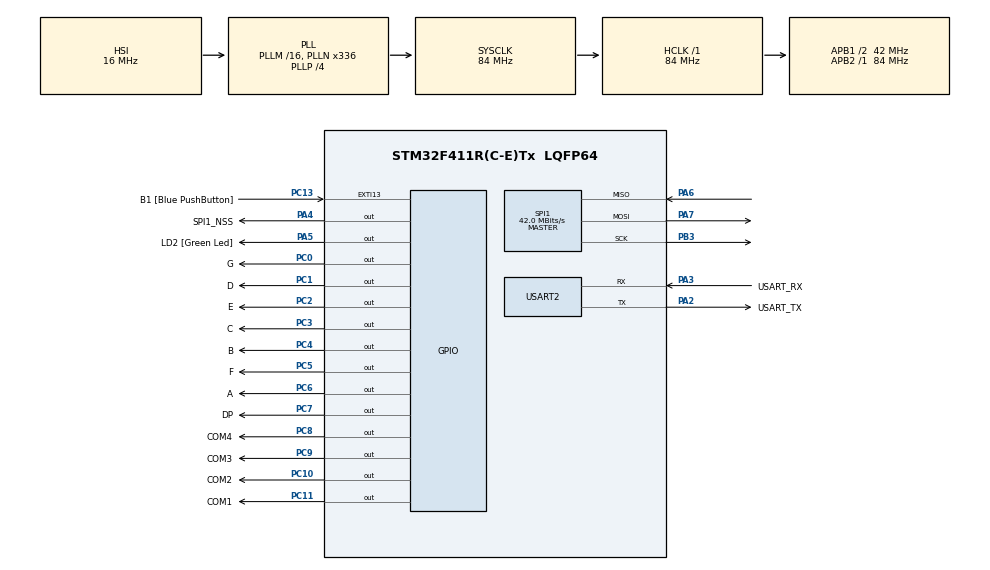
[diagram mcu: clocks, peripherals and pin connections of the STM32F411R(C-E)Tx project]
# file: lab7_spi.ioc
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Mcu.Family=STM32F4
Mcu.Name=STM32F411R(C-E)Tx
Mcu.Package=LQFP64
NVIC.PriorityGroup=NVIC_PRIORITYGROUP_0
NVIC.TIM1_TRG_COM_TIM11_IRQn=true\:0\:0\:false\:false\:true\:true\:true\:true
PA13.GPIO_Label=TMS
PA13.Mode=Serial_Wire
PA13.Signal=SYS_JTMS-SWDIO
PA14.GPIO_Label=TCK
PA14.Mode=Serial_Wire
PA14.Signal=SYS_JTCK-SWCLK
PA2.GPIO_Label=USART_TX
PA2.Mode=Asynchronous
PA2.Signal=USART2_TX
PA3.GPIO_Label=USART_RX
PA3.Mode=Asynchronous
PA3.Signal=USART2_RX
PA4.GPIO_Label=SPI1_NSS
PA4.Signal=GPIO_Output
PA5.GPIO_Label=LD2 [Green Led]
PA5.Signal=GPIO_Output
PA6.Mode=Full_Duplex_Master
PA6.Signal=SPI1_MISO
PA7.Mode=Full_Duplex_Master
PA7.Signal=SPI1_MOSI
PB3.Mode=Full_Duplex_Master
PB3.Signal=SPI1_SCK
PC0.GPIO_Label=G
PC0.Signal=GPIO_Output
PC1.GPIO_Label=D
PC1.Signal=GPIO_Output
PC10.GPIO_Label=COM2
PC10.Signal=GPIO_Output
PC11.GPIO_Label=COM1
PC11.Signal=GPIO_Output
PC13-ANTI_TAMP.GPIO_Label=B1 [Blue PushButton]
PC13-ANTI_TAMP.GPIO_ModeDefaultEXTI=GPIO_MODE_IT_FALLING
PC13-ANTI_TAMP.Signal=GPXTI13
PC14-OSC32_IN.Mode=LSE-External-Oscillator
PC14-OSC32_IN.Signal=RCC_OSC32_IN
PC15-OSC32_OUT.Mode=LSE-External-Oscillator
PC15-OSC32_OUT.Signal=RCC_OSC32_OUT
PC2.GPIO_Label=E
PC2.Signal=GPIO_Output
PC3.GPIO_Label=C
PC3.Signal=GPIO_Output
PC4.GPIO_Label=B
PC4.Signal=GPIO_Output
PC5.GPIO_Label=F
PC5.Signal=GPIO_Output
PC6.GPIO_Label=A
PC6.Signal=GPIO_Output
PC7.GPIO_Label=DP
PC7.Signal=GPIO_Output
PC8.GPIO_Label=COM4
PC8.Signal=GPIO_Output
PC9.GPIO_Label=COM3
PC9.Signal=GPIO_Output
PH0\ -\ OSC_IN.Mode=HSE-External-Clock-Source
PH0\ -\ OSC_IN.Signal=RCC_OSC_IN
PH1\ -\ OSC_OUT.Mode=HSE-External-Clock-Source
PH1\ -\ OSC_OUT.Signal=RCC_OSC_OUT
ProjectManager.HeapSize=0x200
ProjectManager.StackSize=0x400
ProjectManager.TargetToolchain=STM32CubeIDE
RCC.48MHZClocksFreq_Value=84000000
RCC.AHBFreq_Value=84000000
RCC.APB1CLKDivider=RCC_HCLK_DIV2
RCC.APB1Freq_Value=42000000
RCC.APB1TimFreq_Value=84000000
RCC.APB2Freq_Value=84000000
RCC.APB2TimFreq_Value=84000000
RCC.CortexFreq_Value=84000000
RCC.FLatency-AdvancedSettings=FLASH_LATENCY_2
RCC.HCLKFreq_Value=84000000
RCC.HSE_VALUE=8000000
RCC.HSI_VALUE=16000000
RCC.PLLN=336
RCC.PLLP=RCC_PLLP_DIV4
RCC.SYSCLKFreq_VALUE=84000000
RCC.SYSCLKSource=RCC_SYSCLKSOURCE_PLLCLK
RCC.VCOOutputFreq_Value=336000000
SPI1.CLKPhase=SPI_PHASE_2EDGE
SPI1.CLKPolarity=SPI_POLARITY_HIGH
SPI1.CalculateBaudRate=42.0 MBits/s
SPI1.Direction=SPI_DIRECTION_2LINES
SPI1.Mode=SPI_MODE_MASTER
SPI1.VirtualType=VM_MASTER
TIM11.Period=9
TIM11.Prescaler=8399
USART2.VirtualMode=VM_ASYNC
VP_TIM11_VS_ClockSourceINT.Mode=Enable_Timer
board=NUCLEO-F411RE

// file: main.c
/* USER CODE BEGIN Header */
/**
  ******************************************************************************
  * @file           : main.c
  * @brief          : Main program body
  ******************************************************************************
  * @attention
  *
  * Copyright (c) 2023 STMicroelectronics.
  * All rights reserved.
  *
  * This software is licensed under terms that can be found in the LICENSE file
  * in the root directory of this software component.
  * If no LICENSE file comes with this software, it is provided AS-IS.
  *
  ******************************************************************************
  */
/* USER CODE END Header */
#include "main.h"

SPI_HandleTypeDef hspi1;

TIM_HandleTypeDef htim11;

UART_HandleTypeDef huart2;

/* USER CODE BEGIN PV */
volatile uint8_t callback_counter = 0;
volatile uint8_t thousands;
volatile uint8_t hundreds;
volatile uint8_t tens;
volatile uint8_t ones;
volatile uint16_t number = 1234;

uint8_t buf_tx[100];
volatile uint16_t tx_cnt;
/* USER CODE END PV */

void SystemClock_Config(void);
static void MX_GPIO_Init(void);
static void MX_USART2_UART_Init(void);
static void MX_TIM11_Init(void);
static void MX_SPI1_Init(void);
/* USER CODE BEGIN PFP */
void com_change(uint8_t com);
void disp_change(uint8_t num);

void HAL_TIM_PeriodElapsedCallback(TIM_HandleTypeDef *htim) {
	if (htim->Instance == TIM11) {
		// Green LED FLASH
		HAL_GPIO_TogglePin(LD2_GPIO_Port, LD2_Pin);

		// Displaying numbers
		if(callback_counter == 0) {
			// decoding
			ones = number % 10;
			tens = (number / 10) % 10;
			hundreds = (number / 100) % 10;
			thousands = (number / 1000) % 10;

			// turning off all displays
			com_change(0);

			// number set
			disp_change(thousands);

			// turning on display 1
			if (thousands != 0) {
			com_change(1);
			}
			callback_counter++;
		}
		else if (callback_counter == 1) {
			// turning off all displays
			com_change(0);

			// number set
			disp_change(hundreds);

			// turning on display 2
			if (hundreds != 0 || thousands != 0) {
			com_change(2);
			}
			callback_counter++;
		}
		else if (callback_counter == 2) {
			// turning off all displays
			com_change(0);

			// number set
			disp_change(tens);

			// turning on display 3
			if (thousands != 0 || hundreds != 0 || tens != 0) {
			com_change(3);
			}
			callback_counter++;
		}
		else if (callback_counter == 3) {
			// turning off all displays
			com_change(0);

			// number set
			disp_change(ones);

			// turning on display 4
			com_change(4);
			callback_counter = 0;
		}
	}
}

void com_change(uint8_t com) {
	switch(com) {
	case 1:
		HAL_GPIO_WritePin(GPIOC, COM1_Pin, GPIO_PIN_RESET);
		HAL_GPIO_WritePin(GPIOC, COM2_Pin, GPIO_PIN_SET);
		HAL_GPIO_WritePin(GPIOC, COM3_Pin, GPIO_PIN_SET);
		HAL_GPIO_WritePin(GPIOC, COM4_Pin, GPIO_PIN_SET);
		break;
	case 2:
		HAL_GPIO_WritePin(GPIOC, COM1_Pin, GPIO_PIN_SET);
		HAL_GPIO_WritePin(GPIOC, COM2_Pin, GPIO_PIN_RESET);
		HAL_GPIO_WritePin(GPIOC, COM3_Pin, GPIO_PIN_SET);
		HAL_GPIO_WritePin(GPIOC, COM4_Pin, GPIO_PIN_SET);
		break;
	case 3:
		HAL_GPIO_WritePin(GPIOC, COM1_Pin, GPIO_PIN_SET);
		HAL_GPIO_WritePin(GPIOC, COM2_Pin, GPIO_PIN_SET);
		HAL_GPIO_WritePin(GPIOC, COM3_Pin, GPIO_PIN_RESET);
		HAL_GPIO_WritePin(GPIOC, COM4_Pin, GPIO_PIN_SET);
		break;
	case 4:
		HAL_GPIO_WritePin(GPIOC, COM1_Pin, GPIO_PIN_SET);
		HAL_GPIO_WritePin(GPIOC, COM2_Pin, GPIO_PIN_SET);
		HAL_GPIO_WritePin(GPIOC, COM3_Pin, GPIO_PIN_SET);
		HAL_GPIO_WritePin(GPIOC, COM4_Pin, GPIO_PIN_RESET);
		break;
	default:
		HAL_GPIO_WritePin(GPIOC, COM1_Pin, GPIO_PIN_SET);
		HAL_GPIO_WritePin(GPIOC, COM2_Pin, GPIO_PIN_SET);
		HAL_GPIO_WritePin(GPIOC, COM3_Pin, GPIO_PIN_SET);
		HAL_GPIO_WritePin(GPIOC, COM4_Pin, GPIO_PIN_SET);
		break;
	}
}

void disp_change(uint8_t num) {
	switch(num) {
	case 0:
		HAL_GPIO_WritePin(GPIOC, A_Pin, GPIO_PIN_SET);
		HAL_GPIO_WritePin(GPIOC, B_Pin, GPIO_PIN_SET);
		HAL_GPIO_WritePin(GPIOC, C_Pin, GPIO_PIN_SET);
		HAL_GPIO_WritePin(GPIOC, D_Pin, GPIO_PIN_SET);
		HAL_GPIO_WritePin(GPIOC, E_Pin, GPIO_PIN_SET);
		HAL_GPIO_WritePin(GPIOC, F_Pin, GPIO_PIN_SET);
		HAL_GPIO_WritePin(GPIOC, G_Pin, GPIO_PIN_RESET);
		break;
	case 1:
		HAL_GPIO_WritePin(GPIOC, A_Pin, GPIO_PIN_RESET);
		HAL_GPIO_WritePin(GPIOC, B_Pin, GPIO_PIN_SET);
		HAL_GPIO_WritePin(GPIOC, C_Pin, GPIO_PIN_SET);
		HAL_GPIO_WritePin(GPIOC, D_Pin, GPIO_PIN_RESET);
		HAL_GPIO_WritePin(GPIOC, E_Pin, GPIO_PIN_RESET);
		HAL_GPIO_WritePin(GPIOC, F_Pin, GPIO_PIN_RESET);
		HAL_GPIO_WritePin(GPIOC, G_Pin, GPIO_PIN_RESET);
		break;
	case 2:
		HAL_GPIO_WritePin(GPIOC, A_Pin, GPIO_PIN_SET);
		HAL_GPIO_WritePin(GPIOC, B_Pin, GPIO_PIN_SET);
		HAL_GPIO_WritePin(GPIOC, C_Pin, GPIO_PIN_RESET);
		HAL_GPIO_WritePin(GPIOC, D_Pin, GPIO_PIN_SET);
		HAL_GPIO_WritePin(GPIOC, E_Pin, GPIO_PIN_SET);
		HAL_GPIO_WritePin(GPIOC, F_Pin, GPIO_PIN_RESET);
		HAL_GPIO_WritePin(GPIOC, G_Pin, GPIO_PIN_SET);
		break;
	case 3:
		HAL_GPIO_WritePin(GPIOC, A_Pin, GPIO_PIN_SET);
		HAL_GPIO_WritePin(GPIOC, B_Pin, GPIO_PIN_SET);
		HAL_GPIO_WritePin(GPIOC, C_Pin, GPIO_PIN_SET);
		HAL_GPIO_WritePin(GPIOC, D_Pin, GPIO_PIN_SET);
		HAL_GPIO_WritePin(GPIOC, E_Pin, GPIO_PIN_RESET);
		HAL_GPIO_WritePin(GPIOC, F_Pin, GPIO_PIN_RESET);
		HAL_GPIO_WritePin(GPIOC, G_Pin, GPIO_PIN_SET);
		break;
	case 4:
		HAL_GPIO_WritePin(GPIOC, A_Pin, GPIO_PIN_RESET);
		HAL_GPIO_WritePin(GPIOC, B_Pin, GPIO_PIN_SET);
		HAL_GPIO_WritePin(GPIOC, C_Pin, GPIO_PIN_SET);
		HAL_GPIO_WritePin(GPIOC, D_Pin, GPIO_PIN_RESET);
		HAL_GPIO_WritePin(GPIOC, E_Pin, GPIO_PIN_RESET);
		HAL_GPIO_WritePin(GPIOC, F_Pin, GPIO_PIN_SET);
		HAL_GPIO_WritePin(GPIOC, G_Pin, GPIO_PIN_SET);
		break;
	case 5:
		HAL_GPIO_WritePin(GPIOC, A_Pin, GPIO_PIN_SET);
		HAL_GPIO_WritePin(GPIOC, B_Pin, GPIO_PIN_RESET);
		HAL_GPIO_WritePin(GPIOC, C_Pin, GPIO_PIN_SET);
		HAL_GPIO_WritePin(GPIOC, D_Pin, GPIO_PIN_SET);
		HAL_GPIO_WritePin(GPIOC, E_Pin, GPIO_PIN_RESET);
		HAL_GPIO_WritePin(GPIOC, F_Pin, GPIO_PIN_SET);
		HAL_GPIO_WritePin(GPIOC, G_Pin, GPIO_PIN_SET);
		break;
	case 6:
		HAL_GPIO_WritePin(GPIOC, A_Pin, GPIO_PIN_SET);
		HAL_GPIO_WritePin(GPIOC, B_Pin, GPIO_PIN_RESET);
		HAL_GPIO_WritePin(GPIOC, C_Pin, GPIO_PIN_SET);
		HAL_GPIO_WritePin(GPIOC, D_Pin, GPIO_PIN_SET);
		HAL_GPIO_WritePin(GPIOC, E_Pin, GPIO_PIN_SET);
		HAL_GPIO_WritePin(GPIOC, F_Pin, GPIO_PIN_SET);
		HAL_GPIO_WritePin(GPIOC, G_Pin, GPIO_PIN_SET);
		break;
	case 7:
		HAL_GPIO_WritePin(GPIOC, A_Pin, GPIO_PIN_SET);
		HAL_GPIO_WritePin(GPIOC, B_Pin, GPIO_PIN_SET);
		HAL_GPIO_WritePin(GPIOC, C_Pin, GPIO_PIN_SET);
		HAL_GPIO_WritePin(GPIOC, D_Pin, GPIO_PIN_RESET);
		HAL_GPIO_WritePin(GPIOC, E_Pin, GPIO_PIN_RESET);
		HAL_GPIO_WritePin(GPIOC, F_Pin, GPIO_PIN_RESET);
		HAL_GPIO_WritePin(GPIOC, G_Pin, GPIO_PIN_RESET);
		break;
	case 8:
		HAL_GPIO_WritePin(GPIOC, A_Pin, GPIO_PIN_SET);
		HAL_GPIO_WritePin(GPIOC, B_Pin, GPIO_PIN_SET);
		HAL_GPIO_WritePin(GPIOC, C_Pin, GPIO_PIN_SET);
		HAL_GPIO_WritePin(GPIOC, D_Pin, GPIO_PIN_SET);
		HAL_GPIO_WritePin(GPIOC, E_Pin, GPIO_PIN_SET);
		HAL_GPIO_WritePin(GPIOC, F_Pin, GPIO_PIN_SET);
		HAL_GPIO_WritePin(GPIOC, G_Pin, GPIO_PIN_SET);
		break;
	case 9:
		HAL_GPIO_WritePin(GPIOC, A_Pin, GPIO_PIN_SET);
		HAL_GPIO_WritePin(GPIOC, B_Pin, GPIO_PIN_SET);
		HAL_GPIO_WritePin(GPIOC, C_Pin, GPIO_PIN_SET);
		HAL_GPIO_WritePin(GPIOC, D_Pin, GPIO_PIN_SET);
		HAL_GPIO_WritePin(GPIOC, E_Pin, GPIO_PIN_RESET);
		HAL_GPIO_WritePin(GPIOC, F_Pin, GPIO_PIN_SET);
		HAL_GPIO_WritePin(GPIOC, G_Pin, GPIO_PIN_SET);
		break;
	default:
		HAL_GPIO_WritePin(GPIOC, A_Pin, GPIO_PIN_RESET);
		HAL_GPIO_WritePin(GPIOC, B_Pin, GPIO_PIN_RESET);
		HAL_GPIO_WritePin(GPIOC, C_Pin, GPIO_PIN_RESET);
		HAL_GPIO_WritePin(GPIOC, D_Pin, GPIO_PIN_RESET);
		HAL_GPIO_WritePin(GPIOC, E_Pin, GPIO_PIN_RESET);
		HAL_GPIO_WritePin(GPIOC, F_Pin, GPIO_PIN_RESET);
		HAL_GPIO_WritePin(GPIOC, G_Pin, GPIO_PIN_RESET);
		break;
	}
}
/* USER CODE END PFP */

int main(void)
{

  /* MCU Configuration--------------------------------------------------------*/

  /* Reset of all peripherals, Initializes the Flash interface and the Systick. */
  HAL_Init();

  /* Configure the system clock */
  SystemClock_Config();

  /* Initialize all configured peripherals */
  MX_GPIO_Init();
  MX_USART2_UART_Init();
  MX_TIM11_Init();
  MX_SPI1_Init();
  /* USER CODE BEGIN 2 */
  // timer with interruption
  HAL_TIM_Base_Start_IT(&htim11);

  // config mems via spi
  uint8_t MEMSTxBuf[2];
  uint8_t MEMSRxBuf[2];
  MEMSTxBuf[0] = 0x00 | 0x20;
  MEMSTxBuf[1] = 0x47;

  HAL_GPIO_WritePin(SPI1_NSS_GPIO_Port, SPI1_NSS_Pin, GPIO_PIN_RESET);
  HAL_SPI_Transmit(&hspi1, MEMSTxBuf, 2, 10);
  HAL_GPIO_WritePin(SPI1_NSS_GPIO_Port, SPI1_NSS_Pin, GPIO_PIN_SET);

  /* USER CODE END 2 */

  /* Infinite loop */
  /* USER CODE BEGIN WHILE */
  while (1)
  {
	  HAL_Delay(250);
	  uint8_t MEMS[3];

	  // x axis
	  MEMSRxBuf[0] = 0x80 | 0x29;
	  MEMSRxBuf[1] = 0x29;

	  HAL_GPIO_WritePin(SPI1_NSS_GPIO_Port, SPI1_NSS_Pin, GPIO_PIN_RESET);
	  HAL_SPI_Receive(&hspi1, MEMSRxBuf, 2, 10);
	  HAL_GPIO_WritePin(SPI1_NSS_GPIO_Port, SPI1_NSS_Pin, GPIO_PIN_SET);
	  MEMS[0] = MEMSRxBuf[1];

	  // y axis
	  MEMSRxBuf[0] = 0x80 | 0x2B;
	  MEMSRxBuf[1] = 0x29;

	  HAL_GPIO_WritePin(SPI1_NSS_GPIO_Port, SPI1_NSS_Pin, GPIO_PIN_RESET);
	  HAL_SPI_Receive(&hspi1, MEMSRxBuf, 2, 10);
	  HAL_GPIO_WritePin(SPI1_NSS_GPIO_Port, SPI1_NSS_Pin, GPIO_PIN_SET);
	  MEMS[1] = MEMSRxBuf[1];

	  // z axis
	  MEMSRxBuf[0] = 0x80 | 0x2D;
	  MEMSRxBuf[1] = 0x29;

	  HAL_GPIO_WritePin(SPI1_NSS_GPIO_Port, SPI1_NSS_Pin, GPIO_PIN_RESET);
	  HAL_SPI_Receive(&hspi1, MEMSRxBuf, 2, 10);
	  HAL_GPIO_WritePin(SPI1_NSS_GPIO_Port, SPI1_NSS_Pin, GPIO_PIN_SET);
	  MEMS[2] = MEMSRxBuf[1];

	  tx_cnt = snprintf(buf_tx, sizeof(buf_tx), "x = %d, y = %d, z = %d\n", MEMS[0], MEMS[1], MEMS[2]);

	  HAL_UART_Transmit(&huart2, buf_tx, tx_cnt, 100);
    /* USER CODE END WHILE */

  }
}

void SystemClock_Config(void)
{
  RCC_OscInitTypeDef RCC_OscInitStruct = {0};
  RCC_ClkInitTypeDef RCC_ClkInitStruct = {0};

  /** Configure the main internal regulator output voltage
  */
  __HAL_RCC_PWR_CLK_ENABLE();
  __HAL_PWR_VOLTAGESCALING_CONFIG(PWR_REGULATOR_VOLTAGE_SCALE1);

  /** Initializes the RCC Oscillators according to the specified parameters
  * in the RCC_OscInitTypeDef structure.
  */
  RCC_OscInitStruct.OscillatorType = RCC_OSCILLATORTYPE_HSI;
  RCC_OscInitStruct.HSIState = RCC_HSI_ON;
  RCC_OscInitStruct.HSICalibrationValue = RCC_HSICALIBRATION_DEFAULT;
  RCC_OscInitStruct.PLL.PLLState = RCC_PLL_ON;
  RCC_OscInitStruct.PLL.PLLSource = RCC_PLLSOURCE_HSI;
  RCC_OscInitStruct.PLL.PLLM = 16;
  RCC_OscInitStruct.PLL.PLLN = 336;
  RCC_OscInitStruct.PLL.PLLP = RCC_PLLP_DIV4;
  RCC_OscInitStruct.PLL.PLLQ = 4;
  if (HAL_RCC_OscConfig(&RCC_OscInitStruct) != HAL_OK)
  {
    Error_Handler();
  }

  /** Initializes the CPU, AHB and APB buses clocks
  */
  RCC_ClkInitStruct.ClockType = RCC_CLOCKTYPE_HCLK|RCC_CLOCKTYPE_SYSCLK
                              |RCC_CLOCKTYPE_PCLK1|RCC_CLOCKTYPE_PCLK2;
  RCC_ClkInitStruct.SYSCLKSource = RCC_SYSCLKSOURCE_PLLCLK;
  RCC_ClkInitStruct.AHBCLKDivider = RCC_SYSCLK_DIV1;
  RCC_ClkInitStruct.APB1CLKDivider = RCC_HCLK_DIV2;
  RCC_ClkInitStruct.APB2CLKDivider = RCC_HCLK_DIV1;

  if (HAL_RCC_ClockConfig(&RCC_ClkInitStruct, FLASH_LATENCY_2) != HAL_OK)
  {
    Error_Handler();
  }
}

static void MX_SPI1_Init(void)
{

  /* SPI1 parameter configuration*/
  hspi1.Instance = SPI1;
  hspi1.Init.Mode = SPI_MODE_MASTER;
  hspi1.Init.Direction = SPI_DIRECTION_2LINES;
  hspi1.Init.DataSize = SPI_DATASIZE_8BIT;
  hspi1.Init.CLKPolarity = SPI_POLARITY_HIGH;
  hspi1.Init.CLKPhase = SPI_PHASE_2EDGE;
  hspi1.Init.NSS = SPI_NSS_SOFT;
  hspi1.Init.BaudRatePrescaler = SPI_BAUDRATEPRESCALER_2;
  hspi1.Init.FirstBit = SPI_FIRSTBIT_MSB;
  hspi1.Init.TIMode = SPI_TIMODE_DISABLE;
  hspi1.Init.CRCCalculation = SPI_CRCCALCULATION_DISABLE;
  hspi1.Init.CRCPolynomial = 10;
  if (HAL_SPI_Init(&hspi1) != HAL_OK)
  {
    Error_Handler();
  }

}

static void MX_TIM11_Init(void)
{

  htim11.Instance = TIM11;
  htim11.Init.Prescaler = 8399;
  htim11.Init.CounterMode = TIM_COUNTERMODE_UP;
  htim11.Init.Period = 9;
  htim11.Init.ClockDivision = TIM_CLOCKDIVISION_DIV1;
  htim11.Init.AutoReloadPreload = TIM_AUTORELOAD_PRELOAD_DISABLE;
  if (HAL_TIM_Base_Init(&htim11) != HAL_OK)
  {
    Error_Handler();
  }

}

static void MX_USART2_UART_Init(void)
{

  huart2.Instance = USART2;
  huart2.Init.BaudRate = 115200;
  huart2.Init.WordLength = UART_WORDLENGTH_8B;
  huart2.Init.StopBits = UART_STOPBITS_1;
  huart2.Init.Parity = UART_PARITY_NONE;
  huart2.Init.Mode = UART_MODE_TX_RX;
  huart2.Init.HwFlowCtl = UART_HWCONTROL_NONE;
  huart2.Init.OverSampling = UART_OVERSAMPLING_16;
  if (HAL_UART_Init(&huart2) != HAL_OK)
  {
    Error_Handler();
  }

}

static void MX_GPIO_Init(void)
{
  GPIO_InitTypeDef GPIO_InitStruct = {0};

  /* GPIO Ports Clock Enable */
  __HAL_RCC_GPIOC_CLK_ENABLE();
  __HAL_RCC_GPIOH_CLK_ENABLE();
  __HAL_RCC_GPIOA_CLK_ENABLE();
  __HAL_RCC_GPIOB_CLK_ENABLE();

  /*Configure GPIO pin Output Level */
  HAL_GPIO_WritePin(GPIOC, G_Pin|D_Pin|E_Pin|C_Pin
                          |B_Pin|F_Pin|A_Pin|DP_Pin
                          |COM4_Pin|COM3_Pin|COM2_Pin|COM1_Pin, GPIO_PIN_RESET);

  /*Configure GPIO pin Output Level */
  HAL_GPIO_WritePin(GPIOA, SPI1_NSS_Pin|LD2_Pin, GPIO_PIN_RESET);

  /*Configure GPIO pin : B1_Pin */
  GPIO_InitStruct.Pin = B1_Pin;
  GPIO_InitStruct.Mode = GPIO_MODE_IT_FALLING;
  GPIO_InitStruct.Pull = GPIO_NOPULL;
  HAL_GPIO_Init(B1_GPIO_Port, &GPIO_InitStruct);

  /*Configure GPIO pins : G_Pin D_Pin E_Pin C_Pin
                           B_Pin F_Pin A_Pin DP_Pin
                           COM4_Pin COM3_Pin COM2_Pin COM1_Pin */
  GPIO_InitStruct.Pin = G_Pin|D_Pin|E_Pin|C_Pin
                          |B_Pin|F_Pin|A_Pin|DP_Pin
                          |COM4_Pin|COM3_Pin|COM2_Pin|COM1_Pin;
  GPIO_InitStruct.Mode = GPIO_MODE_OUTPUT_PP;
  GPIO_InitStruct.Pull = GPIO_NOPULL;
  GPIO_InitStruct.Speed = GPIO_SPEED_FREQ_LOW;
  HAL_GPIO_Init(GPIOC, &GPIO_InitStruct);

  /*Configure GPIO pins : SPI1_NSS_Pin LD2_Pin */
  GPIO_InitStruct.Pin = SPI1_NSS_Pin|LD2_Pin;
  GPIO_InitStruct.Mode = GPIO_MODE_OUTPUT_PP;
  GPIO_InitStruct.Pull = GPIO_NOPULL;
  GPIO_InitStruct.Speed = GPIO_SPEED_FREQ_LOW;
  HAL_GPIO_Init(GPIOA, &GPIO_InitStruct);

}

void Error_Handler(void)
{
  __disable_irq();
  while (1)
  {
  }
}
